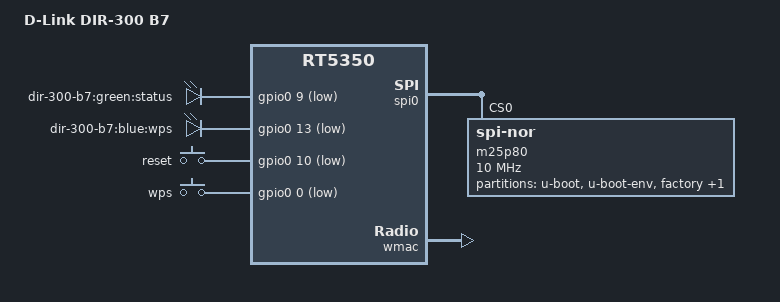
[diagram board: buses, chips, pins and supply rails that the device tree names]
/dts-v1/;

#include "rt5350.dtsi"

/ {
	compatible = "DIR-300-B7", "ralink,rt5350-soc";
	model = "D-Link DIR-300 B7";

	gpio-leds {
		compatible = "gpio-leds";

		status {
			label = "dir-300-b7:green:status";
			gpios = <&gpio0 9 1>;
		};

		wps {
			label = "dir-300-b7:blue:wps";
			gpios = <&gpio0 13 1>;
		};
	};

	gpio-keys-polled {
		compatible = "gpio-keys-polled";
		#address-cells = <1>;
		#size-cells = <0>;
		poll-interval = <20>;

		reset {
			label = "reset";
			gpios = <&gpio0 10 1>;
			linux,code = <0x198>;
		};

		wps {
			label = "wps";
			gpios = <&gpio0 0 1>;
			linux,code = <0x211>;
		};
	};
};

&spi0 {
	status = "okay";

	m25p80@0 {
		#address-cells = <1>;
		#size-cells = <1>;
		compatible = "jedec,spi-nor";
		reg = <0>;
		linux,modalias = "m25p80", "s25fl064k";
		spi-max-frequency = <10000000>;

		partition@0 {
			label = "u-boot";
			reg = <0x0 0x30000>;
			read-only;
		};

		partition@30000 {
			label = "u-boot-env";
			reg = <0x30000 0x10000>;
			read-only;
		};

		factory: partition@40000 {
			label = "factory";
			reg = <0x40000 0x10000>;
			read-only;
		};

		partition@50000 {
			label = "firmware";
			reg = <0x50000 0x7b0000>;
		};
	};
};

&pinctrl {
	state_default: pinctrl0 {
		gpio {
			ralink,group = "i2c", "jtag", "rgmii", "mdio", "uartf";
			ralink,function = "gpio";
		};
	};
};

&ethernet {
	mtd-mac-address = <&factory 0x4>;
};

&esw {
	mediatek,portmap = <0x2f>;
	mediatek,led_polarity = <0x17>;
};

&wmac {
	status = "okay";
	ralink,led-polarity = <1>;
	ralink,mtd-eeprom = <&factory 0>;
};
